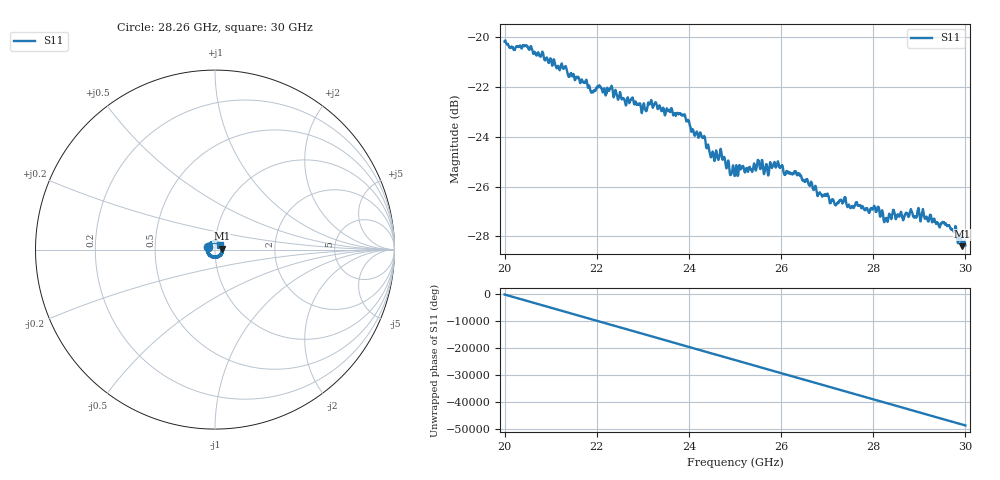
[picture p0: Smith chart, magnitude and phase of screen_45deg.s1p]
#  HZ  S  RI  R  50.00
! Rohde & Schwarz ZVA40 4Ports - Version 3.90 - 1145.1110k42 SN: 100403
! Date: 2023-09-30 08:46:41
! Measurement: S12
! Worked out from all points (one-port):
!   5001 points, 20 GHz to 30 GHz, reference 50 ohm
!   lowest |S11| = -28.4 dB at 29.93 GHz (marker M1), VSWR 1.08, Z = 53.9 + j0.638 ohm
!   |S11| at or under -10 dB: start of sweep to end of sweep
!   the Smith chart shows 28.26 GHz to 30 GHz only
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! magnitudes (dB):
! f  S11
! 20 GHz  -20.2
! 20.18 GHz  -20.4
! 20.46 GHz  -20.3
! 21.25 GHz  -21.2
! 21.9 GHz  -22.2
! 22.29 GHz  -22.0
! 22.5 GHz  -22.2
! 23.01 GHz  -22.7
! 23.16 GHz  -22.7
! 23.75 GHz  -23.0
! 24.09 GHz  -23.7
! 24.3 GHz  -24.0
! 24.51 GHz  -24.6
! 24.72 GHz  -24.8
! 24.9 GHz  -25.5
! 25 GHz  -25.6
! 25.89 GHz  -25.2
! 26.25 GHz  -25.5
! 27.18 GHz  -26.8
! 27.36 GHz  -26.6
! 27.5 GHz  -26.9
! 28.07 GHz  -27.0
! 28.27 GHz  -27.3
! 28.42 GHz  -27.1
! 28.75 GHz  -27.2
! 29.55 GHz  -27.5
! 29.93 GHz  -28.4
! 30 GHz  -28.4
